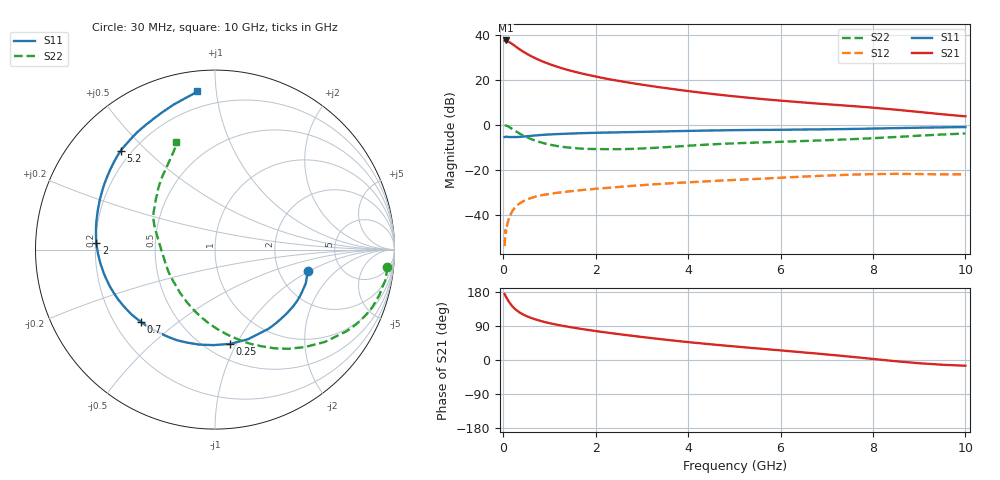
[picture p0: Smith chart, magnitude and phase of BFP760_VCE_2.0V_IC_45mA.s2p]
! Infineon Technologies  Discrete & RF Semiconductors
! BFP760
! VCE =  2.0 V,  IC =  45 mA
! Common Emitter S-Parameters:  Nov 2012
# GHz  S  MA  R  50
!  f  S11  S21  S12  S22
! GHz  MAG  ANG  MAG  ANG  MAG  ANG  MAG  ANG
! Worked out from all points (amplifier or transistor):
!   99 points, 30 MHz to 10 GHz, reference 50 ohm
!   highest |S21| = 37.4 dB at 50 MHz (marker M1)
!   |S21| within 3 dB of that: start of sweep to 291.9 MHz
!   unconditionally stable (mu >= 1): 3.733 GHz to end of sweep
!   at 350 MHz: K = 0.35, MSG = 34.3 dB, |S12| = -35.1 dB
!   at 3.5 GHz: K = 0.98, MSG = 21.2 dB, |S12| = -26.2 dB
!   at 10 GHz: K = 1.06, MAG = 11.3 dB, |S12| = -22.1 dB
!   S11 on the Smith chart (normalised r, x): 30 MHz: 2.91, -0.96; 250 MHz: 0.64, -0.94; 700 MHz: 0.31, -0.37; 2 GHz: 0.20, +0.03; 5.2 GHz: 0.16, +0.42; 10 GHz: 0.11, +0.89
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0.03  0.531 -12.9  73.05 174.2  0.002 79.0  0.9647 -5.8
0.04  0.5343 -16.8  73.47 172.1  0.003 76.9  0.9645 -8.2
0.05  0.5394 -20.3  74.5 169.1  0.0046 87.0  0.9639 -10.5
0.07  0.5399 -28.4  74.23 164.5  0.0052 80.6  0.9506 -15.3
0.1  0.5357 -39.5  71.32 158.2  0.0067 75.7  0.9246 -21.9
0.15  0.5323 -56.1  66.73 149.1  0.0097 69.1  0.8628 -31.8
0.2  0.5322 -69.8  61.52 141.5  0.0122 64.1  0.7991 -40.1
0.25  0.532 -81.0  56.74 135.3  0.0142 61.7  0.7389 -47.3
0.35  0.5365 -99.4  47.7 125.8  0.0176 55.5  0.6406 -59.1
0.45  0.5477 -112.7  40.95 118.9  0.0203 51.3  0.5651 -68.8
0.6  0.5655 -127.9  33.52 111.2  0.0235 46.9  0.4822 -81.2
0.7  0.5772 -135.7  29.8 107.0  0.0253 44.7  0.4417 -88.6
0.9  0.5982 -147.9  24.31 100.1  0.0279 41.5  0.3827 -101.9
1.1  0.614 -157.2  20.45 94.6  0.03 39.6  0.3447 -113.3
1.7  0.6482 -176.1  13.76 81.8  0.0353 37.1  0.2936 -139.9
2  0.6617 177.0  11.78 76.4  0.0377 36.9  0.2879 -150.6
3.4  0.7073 153.0  6.763 55.1  0.0482 34.7  0.3117 173.9
5.1  0.7591 134.4  4.17 34.8  0.0599 30.9  0.3892 151.9
5.2  0.7612 133.6  4.075 33.7  0.0605 30.7  0.3922 151.0
6.7  0.7856 123.0  3.007 18.0  0.0718 25.7  0.4413 137.5
8.5  0.8405 105.8  2.156 -3.3  0.0808 14.2  0.5334 120.3
10  0.8867 96.4  1.533 -15.1  0.0786 9.2  0.6377 110.0
